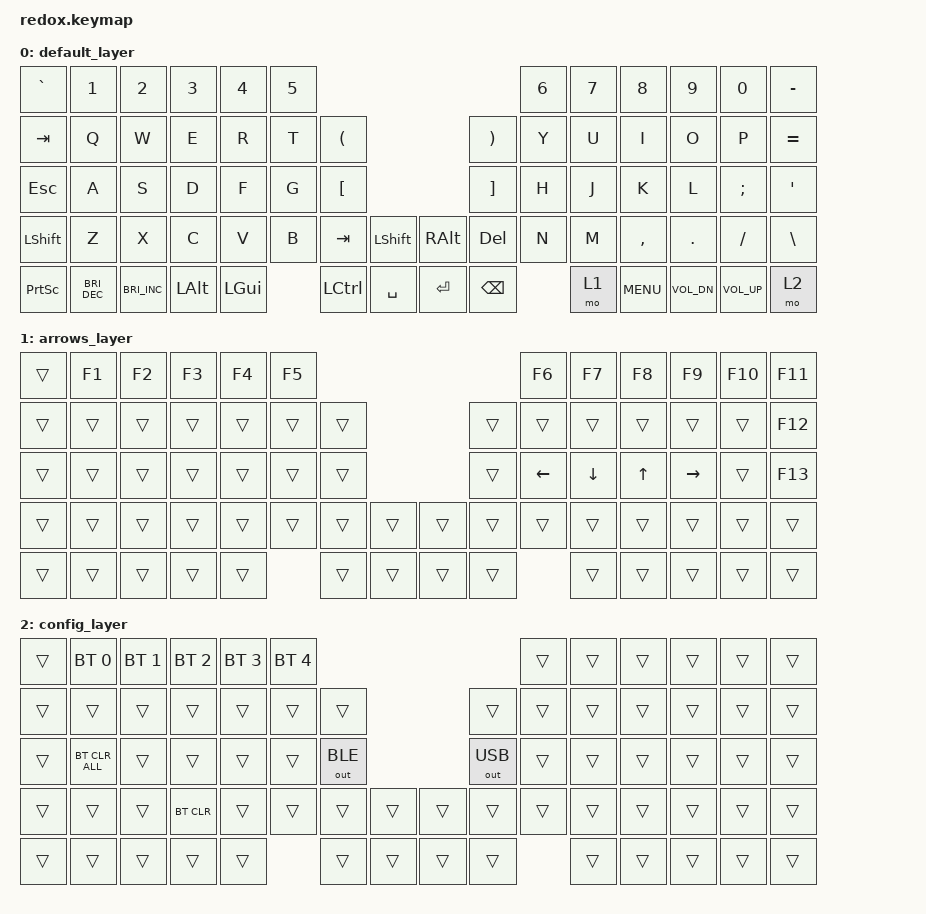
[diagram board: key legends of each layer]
/*
 * Copyright (c) 2021 The ZMK Contributors
 *
 * SPDX-License-Identifier: MIT
 */

#include <behaviors.dtsi>
#include <dt-bindings/zmk/bt.h>
#include <dt-bindings/zmk/keys.h>
#include <dt-bindings/zmk/outputs.h>

/ {
    keymap {
        compatible = "zmk,keymap";

        default_layer {
            // --------------------------------------------------------------------------------------------------------------------------------
            // | ESC   |  1  |  2  |   3   |  4  |  5  |                   ---                |  6    |  7    |  8    |  9   | 0  |    BSPC   |
            // | TAB   |  Q  |  W  |   E   |  R  |  T  |   (   |           ---        |  )    |  Y    |  U    |  I    |  O   | P  |     -     |
            // | CTRL  |  A  |  S  |   D   |  F  |  G  |   [   |           ---        |  ]    |  H    |  J    |  K    |  L   | ;  |     '     |
            // | SHIFT |  Z  |  X  |   C   |  V  |  B  | PG_UP | PG_DOWN | --- | HOME | END   |  N    |  M    |  ,    |  .   | /  | SHFT(RET) |
            // | CRTL  | ALT | GUI | LOWER |    GUI    | LOWER | SPACE   | --- | DEL  | SPACE |     RAISE     | LEFT  | DOWN | UP |   RIGHT   |

            bindings = <
&kp GRAVE        &kp NUMBER_1          &kp N2                &kp N3        &kp N4        &kp N5                                                                            &kp N6  &kp N7  &kp N8      &kp N9        &kp N0           &kp MINUS
&kp TAB          &kp Q                 &kp W                 &kp E         &kp R         &kp T   &kp LEFT_PARENTHESIS                               &kp RIGHT_PARENTHESIS  &kp Y   &kp U   &kp I       &kp O         &kp P            &kp EQUAL
&kp ESCAPE       &kp A                 &kp S                 &kp D         &kp F         &kp G   &kp LBKT                                           &kp RBKT               &kp H   &kp J   &kp K       &kp L         &kp SEMI         &kp SQT
&kp LSHFT        &kp Z                 &kp X                 &kp C         &kp V         &kp B   &kp TAB               &kp LEFT_SHIFT    &kp RALT   &kp DEL                &kp N   &kp M   &kp COMMA   &kp DOT       &kp FSLH         &kp BACKSLASH
&kp PRINTSCREEN  &kp C_BRIGHTNESS_DEC  &kp C_BRIGHTNESS_INC  &kp LEFT_ALT  &kp LEFT_GUI          &kp LCTRL             &kp SPACE         &kp ENTER  &kp BACKSPACE                  &mo 1   &kp C_MENU  &kp C_VOL_DN  &kp C_VOLUME_UP  &mo 2
            >;
        };

        arrows_layer {
            bindings = <
&trans  &kp F1  &kp F2  &kp F3  &kp F4  &kp F5                                    &kp F6          &kp F7          &kp F8        &kp F9     &kp F10  &kp F11
&trans  &trans  &trans  &trans  &trans  &trans  &trans                    &trans  &trans          &trans          &trans        &trans     &trans   &kp F12
&trans  &trans  &trans  &trans  &trans  &trans  &trans                    &trans  &kp LEFT_ARROW  &kp DOWN_ARROW  &kp UP_ARROW  &kp RIGHT  &trans   &kp F13
&trans  &trans  &trans  &trans  &trans  &trans  &trans  &trans    &trans  &trans  &trans          &trans          &trans        &trans     &trans   &trans
&trans  &trans  &trans  &trans  &trans          &trans  &trans    &trans  &trans                  &trans          &trans        &trans     &trans   &trans
            >;
        };

        config_layer {
            bindings = <
&trans  &bt BT_SEL 0    &bt BT_SEL 1  &bt BT_SEL 2  &bt BT_SEL 3  &bt BT_SEL 4                                                &trans  &trans  &trans  &trans  &trans  &trans
&trans  &trans          &trans        &trans        &trans        &trans        &trans                          &trans        &trans  &trans  &trans  &trans  &trans  &trans
&trans  &bt BT_CLR_ALL  &trans        &trans        &trans        &trans        &out OUT_BLE                    &out OUT_USB  &trans  &trans  &trans  &trans  &trans  &trans
&trans  &trans          &trans        &bt BT_CLR    &trans        &trans        &trans        &trans    &trans  &trans        &trans  &trans  &trans  &trans  &trans  &trans
&trans  &trans          &trans        &trans        &trans                      &trans        &trans    &trans  &trans                &trans  &trans  &trans  &trans  &trans
            >;
        };
    };
};

